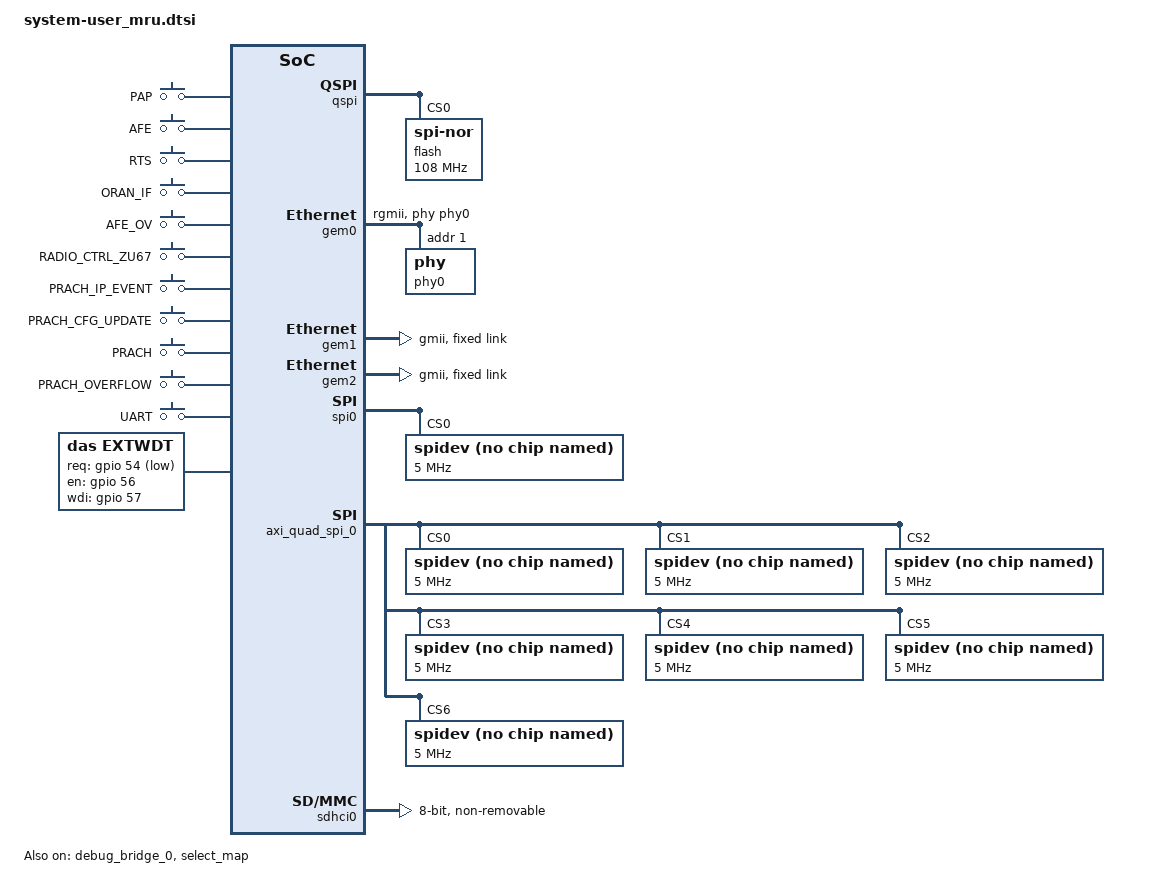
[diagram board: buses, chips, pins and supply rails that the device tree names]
/include/ "system-conf.dtsi"
#include <dt-bindings/interrupt-controller/irq.h>
#include <dt-bindings/gpio/gpio.h>
/ {
    gpio_keys:alarm_keys@0 {
        compatible = "gpio-keys";
        label = "DAS Interrupt collection";
    };

    select_map: select-map {
        compatible = "selectmap,ku5p";
        status = "okay";
        reg = <0x0 0xff0a0048 0x0 0x20>;
        first_check_cfg_done = <0>;
        ku_rdwr = <&gpio 65 GPIO_ACTIVE_HIGH>;
        ku_cclk = <&gpio 53 GPIO_ACTIVE_HIGH>;
        ku_prog_b = <&gpio 56 GPIO_ACTIVE_HIGH>;
        ku_cfg_done = <&gpio 52 GPIO_ACTIVE_HIGH>;
        ku_init_b = <&gpio 68 GPIO_ACTIVE_HIGH>;
        ku_csi_b = <&gpio 60 GPIO_ACTIVE_HIGH>;
        // ku_cfg_led = <&gpio 51 GPIO_ACTIVE_HIGH>;
        ku_bank_base = <&gpio 52 GPIO_ACTIVE_HIGH>;
        /* D0 - D7*/
        gpios = <&gpio 64 GPIO_ACTIVE_HIGH
            &gpio 57 GPIO_ACTIVE_HIGH
            &gpio 66 GPIO_ACTIVE_HIGH
            &gpio 69 GPIO_ACTIVE_HIGH
            &gpio 54 GPIO_ACTIVE_HIGH
            &gpio 62 GPIO_ACTIVE_HIGH
            &gpio 61 GPIO_ACTIVE_HIGH
            &gpio 63 GPIO_ACTIVE_HIGH>;
    };

    extwdt: external-watchdog {
        compatible = "das,extwdt";
        status = "okay";
        req-gpio = <&gpio 54 GPIO_ACTIVE_LOW>;
        en-gpio = <&gpio 56 GPIO_ACTIVE_HIGH>;
        wdi-gpio = <&gpio 57 GPIO_ACTIVE_HIGH>;
    };
};

&debug_bridge_0 {
	compatible = "xlnx,xvc";
	status = "okay";
};

&qspi {
    status = "okay";
    is-dual = <0>;
    num-cs = <1>;
    flash@0 {
        compatible ="jedec,spi-nor";
        reg = <0x0>;
        spi-tx-bus-width = <1>;
        spi-rx-bus-width = <4>;
        spi-max-frequency = <108000000>;
        #address-cells = <1>;
        #size-cells = <1>;
    };
};

&gem0 {
    status = "okay";
    phy-handle = <&phy0>;
    phy-mode = "rgmii";
    is-internal-pcspma = <0x1>;
    phy0: phy@1 {
        reg = <0x1>;
    };
};

&gem1 {
    status = "okay";
    phy-mode = "gmii";
    fixed-link {
        speed = <1000>;
        full-duplex;
    };
};

&gem2 {
    status = "okay";
    phy-mode = "gmii";
    fixed-link {
        speed = <1000>;
        full-duplex;
    };
};

&gem3 {
    status = "disabled";
};

&spi0 {
    status = "okay";
    num-cs = <1>;
    u-boot,dm-pre-reloc;
    spidev@0 {
        compatible="rohm,dh2228fv";
        reg = <0>;
        spi-max-frequency = <5000000>;
    };
};

&axi_quad_spi_0 {
    status = "okay";
    spidev@0 {
        compatible="rohm,dh2228fv";
        reg = <0>;
        spi-max-frequency = <5000000>;
    };

    spidev@1 {
        compatible="rohm,dh2228fv";
        reg = <1>;
        spi-max-frequency = <5000000>;
    };

    spidev@2 {
        compatible="rohm,dh2228fv";
        reg = <2>;
        spi-max-frequency = <5000000>;
    };

    spidev@3 {
        compatible="rohm,dh2228fv";
        reg = <3>;
        spi-max-frequency = <5000000>;
    };

    spidev@4 {
        compatible="rohm,dh2228fv";
        reg = <4>;
        spi-max-frequency = <5000000>;
    };

    spidev@5 {
        compatible="rohm,dh2228fv";
        reg = <5>;
        spi-max-frequency = <5000000>;
    };

    spidev@6 {
        compatible="rohm,dh2228fv";
        reg = <6>;
        spi-max-frequency = <5000000>;
    };
};

&sdhci0 {
        status = "okay";
        bus-width = <8>;
        non-removable;
        cap-mmc-highspeed;
        cap-sd-highspeed;
        disable-wp;
        no-1-8-v;
};

&amba_pl {
    fpga: fpga@a0000000 {
        compatible = "generic-uio";
        reg = <0x0 0xA0000000 0x0 0x20000000>;
    };

    dpd_0_USER: dpd_user@a4000000 {
        compatible = "generic-uio";
        reg = <0x0 0xa4000000 0x0 0x20000>;
    };
};

&dpd_0{
    compatible = "generic-uio";
    reg = <0x0 0xa8000000 0x0 0x4000000>;
};

&gpio_keys {
	status = "okay";

    pl_irq1{
        label = "PAP";
        linux,code = <2>;
        interrupt-parent = <&axi_intc_0>;
        interrupts = <1 0>;
        debounce-interval = <0>;
    };

    pl_irq4{
        label = "AFE";
        linux,code = <5>;
        interrupt-parent = <&axi_intc_0>;
        interrupts = <4 0>;
        debounce-interval = <0>;
    };

    pl_irq5{
        label = "RTS";
        linux,code = <6>;
        interrupt-parent = <&axi_intc_0>;
        interrupts = <5 0>;
        debounce-interval = <0>;
    };

    pl_irq6{
        label = "ORAN_IF";
        linux,code = <7>;
        interrupt-parent = <&axi_intc_0>;
        interrupts = <6 1>;
        debounce-interval = <0>;
    };

    pl_irq7{
        label = "AFE_OV";
        linux,code = <8>;
        interrupt-parent = <&axi_intc_0>;
        interrupts = <7 0>;
        debounce-interval = <0>;
    };

    pl_irq10{
        label = "RADIO_CTRL_ZU67";
        linux,code = <11>;
        interrupt-parent = <&axi_intc_0>;
        interrupts = <10 0>;
        debounce-interval = <0>;
    };

    pl_irq19{
        label = "PRACH_IP_EVENT";
        linux,code = <20>;
        interrupt-parent = <&axi_intc_0>;
        interrupts = <19 0>;
        debounce-interval = <0>;
    };

    pl_irq20{
        label = "PRACH_CFG_UPDATE";
        linux,code = <21>;
        interrupt-parent = <&axi_intc_0>;
        interrupts = <20 0>;
        debounce-interval = <0>;
    };

    pl_irq21{
        label = "PRACH";
        linux,code = <22>;
        interrupt-parent = <&axi_intc_0>;
        interrupts = <21 0>;
        debounce-interval = <0>;
    };

    pl_irq22{
        label = "PRACH_OVERFLOW";
        linux,code = <23>;
        interrupt-parent = <&axi_intc_0>;
        interrupts = <22 0>;
        debounce-interval = <0>;
    };

    pl_irq25{
        label = "UART";
        linux,code = <26>;
        interrupt-parent = <&axi_intc_0>;
        interrupts = <25 0>;
        debounce-interval = <0>;
    };

};
